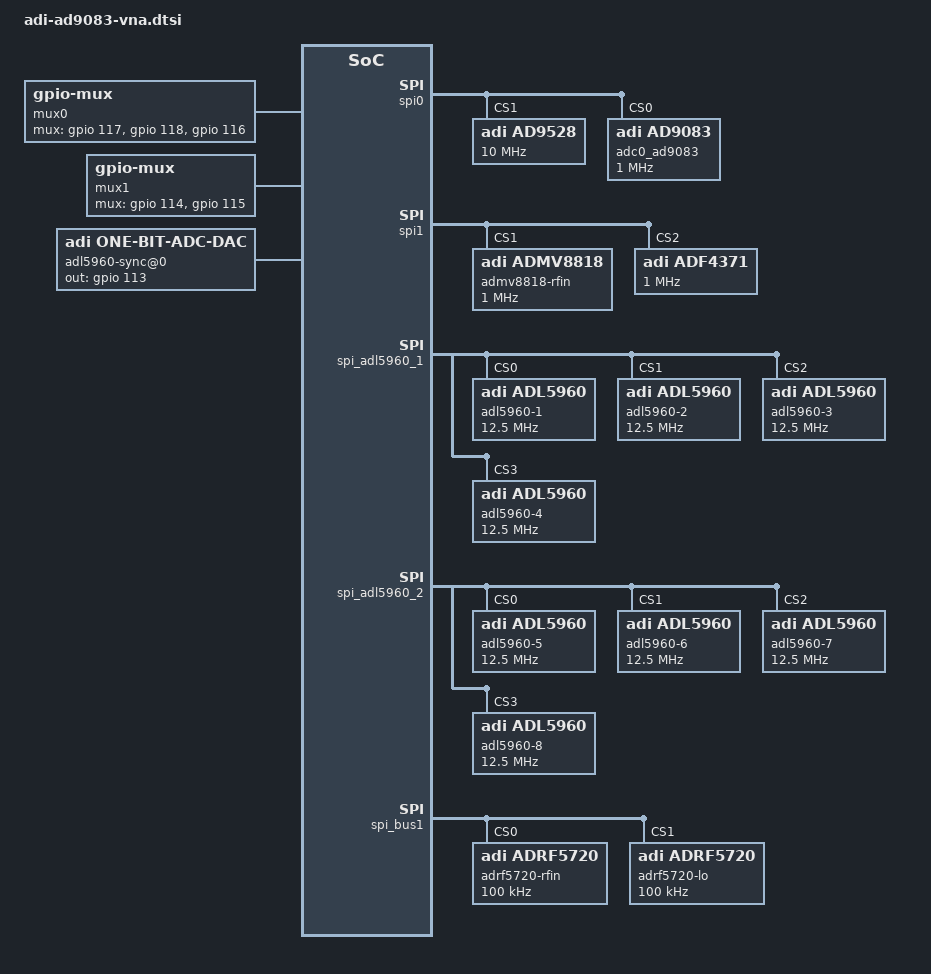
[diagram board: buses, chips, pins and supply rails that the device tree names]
// SPDX-License-Identifier: GPL-2.0
/*
 * dts file for AD9083-ADL5960 on Xilinx ZynqMP ZCU102 Rev 1.0
 *
 * board_revision: <Rev.B>
 *
 * Copyright (C) 2021 Analog Devices Inc.
 */
#include <dt-bindings/iio/frequency/ad9528.h>
#include <dt-bindings/iio/adc/adi,ad9083.h>

#define ADF9528_DIST_CLK	1000000000

#ifndef ADL5960_FOF
#define ADL5960_FOF		256
#endif

#ifndef AD9083_CIC_DEC
#define AD9083_CIC_DEC		AD9083_CIC_DEC_8
#endif

#define AD9083_NCO_FREQ		(ADF9528_DIST_CLK / ADL5960_FOF)

/ {
	fixed_clk: fixed-clock {
		#clock-cells = <0>;
		compatible = "fixed-clock";
		clock-frequency = <0>;
	};

	/* ADRF5021 GPIO_SW2, GPIO_SW[3,4]_V1, GPIO_SW[3,4]_V2 */
	mux0: mux-controller0 {
		compatible = "gpio-mux";
		#mux-control-cells = <0>;

		mux-gpios = <&gpio 117 0>, <&gpio 118 0>, <&gpio 116 0>;
	};

	/* ADRF5021 GPIO_SW0, GPIO_SW1 */
	mux1: mux-controller1 {
		compatible = "gpio-mux";
		#mux-control-cells = <0>;

		mux-gpios = <&gpio 114 0>, <&gpio 115 0>;
	};

	vna_mux0: mux-rfin {
		compatible = "adi,gen_mux";
		mux-controls = <&mux0>;
		mux-state-names =
			"d1", "d2", "d3", "d4", "d5", "d6", "d7", "d8";
		label = "mux-rfin";
	};

	clk_mux0: mux-adf4371 {
		compatible = "adi,gen_mux";
		clocks = <&adf4371 3>, <&adf4371 0>, <&adf4371 2>, <&fixed_clk>;
		#clock-cells = <0>;
		clock-names = "pll0-clk-rf32", "pll0-clk-rf8", "pll0-clk-rf16", "disabled";
		clock-output-names = "clk-mux-out";

		mux-controls = <&mux1>;
		mux-state-names = "rf32", "rf8", "rf16", "disabled";
		label = "mux-adf4371";
	};

	adl5960-sync@0 {
		compatible = "adi,one-bit-adc-dac";
		out-gpios = <&gpio 113 0>;

		#address-cells = <1>;
		#size-cells = <0>;

		channel@0 {
			reg = <0>;
			label = "ADL5960x_SYNC";
		};
	};
};

&spi0 {
	ad9528: ad9528@1 {
		compatible = "adi,ad9528";
		reg = <1>;
		spi-cpol;
		spi-cpha;
		#address-cells = <1>;
		#size-cells = <0>;

		jesd204-device;
		#jesd204-cells = <2>;
		jesd204-sysref-provider;

		spi-max-frequency = <10000000>;
		adi,spi-3wire-enable;

		clock-output-names =
			"ad9528-1_out0", "ad9528-1_out1", "ad9528-1_out2",
			"ad9528-1_out3", "ad9528-1_out4", "ad9528-1_out5",
			"ad9528-1_out6", "ad9528-1_out7", "ad9528-1_out8",
			"ad9528-1_out9", "ad9528-1_out10", "ad9528-1_out11",
			"ad9528-1_out12", "ad9528-1_out13";
		#clock-cells = <1>;

		adi,vcxo-freq = <100000000>;

		adi,refa-enable;
		adi,refa-diff-rcv-enable;
		adi,refa-r-div = <1>;
		adi,osc-in-cmos-neg-inp-enable;

		/* SYSREF config */
		adi,sysref-src = <SYSREF_SRC_INTERNAL>;
		adi,sysref-pattern-mode = <SYSREF_PATTERN_NSHOT>;
		adi,sysref-k-div = <256>;
		adi,sysref-nshot-mode = <SYSREF_NSHOT_4_PULSES>;
		adi,sysref-request-trigger-mode = <SYSREF_LEVEL_HIGH>;
		//adi,jesd204-max-sysref-frequency-hz = <400000>;

		/* PLL1 config */
		adi,pll1-feedback-src-vcxo;
		adi,pll1-feedback-div = <4>;
		adi,pll1-charge-pump-current-nA = <5000>;
		adi,osc-in-diff-enable;

		/* PLL2 config */
		/*
		 * Valid ranges based on VCO locking range:
		 *   1150.000 MHz - 1341.666 MHz
		 *    862.500 MHz - 1006.250 MHz
		 *    690.000 MHz -  805.000 MHz
		 */
		adi,pll2-m1-frequency = <ADF9528_DIST_CLK>;
		adi,pll2-charge-pump-current-nA = <805000>;

		adi,rpole2 = <RPOLE2_900_OHM>;
		adi,rzero = <RZERO_1850_OHM>;
		adi,cpole1 = <CPOLE1_16_PF>;

		adi,status-mon-pin0-function-select = <0xFF>; /* No function */
		adi,status-mon-pin1-function-select = <0xFF>; /* No function */

		ad9528_0_c1: channel@1 {
			reg = <1>;
			adi,extended-name = "FPGA_GLBL_CLK";
			adi,driver-mode = <DRIVER_MODE_LVDS>;
			adi,divider-phase = <0>;
			adi,channel-divider = <8>; /* 125 MHz */
			adi,signal-source = <SOURCE_VCO>;
		};

		ad9528_0_c2: channel@2 {
			reg = <2>;
			adi,extended-name = "ADRF5610_XREF";
			adi,driver-mode = <DRIVER_MODE_LVDS>;
			adi,divider-phase = <0>;
			adi,channel-divider = <20>; /* 125 MHz */
			adi,signal-source = <SOURCE_VCO>;
		};

		ad9528_0_c3: channel@3 {
			reg = <3>;
			adi,extended-name = "FPGA_REF_CLK";
			adi,driver-mode = <DRIVER_MODE_LVDS>;
			adi,divider-phase = <0>;
			adi,channel-divider = <2>; /* 500 MHz */
			adi,signal-source = <SOURCE_VCO>;
		};

		ad9528_0_c13: channel@13 {
			reg = <13>;
			adi,extended-name = "ADC_REF_CLK";
			adi,driver-mode = <DRIVER_MODE_LVDS>;
			adi,divider-phase = <0>;
			adi,channel-divider = <4>; /* 250 MHz */
			adi,signal-source = <SOURCE_VCO>;
		};

		ad9528_0_c12: channel@12 {
			reg = <12>;
			adi,extended-name = "DEV_SYSREF";
			adi,driver-mode = <DRIVER_MODE_LVDS>;
			adi,divider-phase = <0>;
			adi,channel-divider = <5>;
			adi,signal-source = <SOURCE_SYSREF_VCO>;
		};

		ad9528_0_c0: channel@0 {
			reg = <0>;
			adi,extended-name = "FMC_SYSREF";
			adi,driver-mode = <DRIVER_MODE_LVDS>;
			adi,divider-phase = <0>;
			adi,channel-divider = <5>;
			adi,signal-source = <SOURCE_SYSREF_VCO>;
		};

		ad9528_0_c4: channel@4 {
			reg = <4>;
			adi,extended-name = "ADL5960_FOF1";
			adi,driver-mode = <DRIVER_MODE_LVDS>;
			adi,divider-phase = <0>;
			adi,channel-divider = <ADL5960_FOF>;
			adi,signal-source = <SOURCE_VCO>;
		};
		ad9528_0_c5: channel@5 {
			reg = <5>;
			adi,extended-name = "ADL5960_FOF2";
			adi,driver-mode = <DRIVER_MODE_LVDS>;
			adi,divider-phase = <0>;
			adi,channel-divider = <ADL5960_FOF>;
			adi,signal-source = <SOURCE_VCO>;
		};
		ad9528_0_c6: channel@6 {
			reg = <6>;
			adi,extended-name = "ADL5960_FOF3";
			adi,driver-mode = <DRIVER_MODE_LVDS>;
			adi,divider-phase = <0>;
			adi,channel-divider = <ADL5960_FOF>;
			adi,signal-source = <SOURCE_VCO>;
		};
		ad9528_0_c7: channel@7 {
			reg = <7>;
			adi,extended-name = "ADL5960_FOF4";
			adi,driver-mode = <DRIVER_MODE_LVDS>;
			adi,divider-phase = <0>;
			adi,channel-divider = <ADL5960_FOF>;
			adi,signal-source = <SOURCE_VCO>;
		};
		ad9528_0_c8: channel@8 {
			reg = <8>;
			adi,extended-name = "ADL5960_FOF5";
			adi,driver-mode = <DRIVER_MODE_LVDS>;
			adi,divider-phase = <0>;
			adi,channel-divider = <ADL5960_FOF>;
			adi,signal-source = <SOURCE_VCO>;
		};
		ad9528_0_c9: channel@9 {
			reg = <9>;
			adi,extended-name = "ADL5960_FOF6";
			adi,driver-mode = <DRIVER_MODE_LVDS>;
			adi,divider-phase = <0>;
			adi,channel-divider = <ADL5960_FOF>;
			adi,signal-source = <SOURCE_VCO>;
		};
		ad9528_0_c10: channel@10 {
			reg = <10>;
			adi,extended-name = "ADL5960_FOF7";
			adi,driver-mode = <DRIVER_MODE_LVDS>;
			adi,divider-phase = <0>;
			adi,channel-divider = <ADL5960_FOF>;
			adi,signal-source = <SOURCE_VCO>;
		};
		ad9528_0_c11: channel@11 {
			reg = <11>;
			adi,extended-name = "ADL5960_FOF8";
			adi,driver-mode = <DRIVER_MODE_LVDS>;
			adi,divider-phase = <0>;
			adi,channel-divider = <ADL5960_FOF>;
			adi,signal-source = <SOURCE_VCO>;
		};
	};

	adc0_ad9083: ad9083@0 {
		compatible = "adi,ad9083";
		reg = <0>;

		jesd204-device;
		#jesd204-cells = <2>;
		jesd204-top-device = <0>;
		jesd204-link-ids = <0>;
		jesd204-inputs = <&axi_ad9083_core_rx 0 0>;

		spi-max-frequency = <1000000>;
		clocks = <&ad9528 13>;
		clock-names = "adc_ref_clk";
		adi,adc-frequency-hz= /bits/ 64 <2000000000>; /* 2 GHz */

		/* adi_ad9083 config */

		adi,vmax-microvolt = <1800>;
		adi,fc-hz =  /bits/ 64 <125000000>; /* 125 MHz */
		adi,rterm-ohms = <100>;
		adi,backoff = <0>;
		adi,finmax-hz = /bits/ 64 <100000000>;
		adi,nco0_freq-hz = /bits/ 64 <AD9083_NCO_FREQ>;
		adi,nco1_freq-hz = /bits/ 64 <0>;
		adi,nco2_freq-hz = /bits/ 64 <0>;
		adi,cic_decimation = /bits/ 8 <AD9083_CIC_DEC>;
		adi,j_decimation = /bits/ 8 <AD9083_J_DEC_16>;
		// adi,g_decimation = /bits/ 8 <AD9083_G_DEC_16>;
		// adi,h_decimation = /bits/ 8 <AD9083_H_DEC_16>;
		adi,g_decimation = /bits/ 8 <0>;
		adi,h_decimation = /bits/ 8 <0>;
		adi,nco0_datapath_mode =
			/bits/ 8 <AD9083_DATAPATH_ADC_CIC_NCO_J>;

		/* JESD204 parameters */

		adi,octets-per-frame = <64>;
		adi,frames-per-multiframe = <16>;
		adi,converter-resolution = <16>;
		adi,bits-per-sample = <16>;
		adi,converters-per-device = <32>;
		adi,control-bits-per-sample = <0>;
		adi,lanes-per-device = <1>;
		adi,subclass = <0>;
	};
};

&spi1 {
	status = "okay";

	admv8818-2@1{
		compatible = "adi,admv8818";
		reg = <1>;
		spi-max-frequency = <1000000>;
		clocks = <&clk_mux0>; /* Fixme */
		clock-names = "rf_in";
		clock-scales = <1 10>;
		label = "admv8818-rfin";
		adi,tolerance-percent = <3>;
	};

	adf4371: adf4371@2 {
		compatible = "adi,adf4371";
		reg = <2>;
		spi-max-frequency = <1000000>;
		#address-cells = <1>;
		#clock-cells = <1>;
		#size-cells = <0>;
		clocks = <&ad9528 2>;
		clock-names = "clkin";
		clock-scales = <1 10>;
		label = "adf4371";
		clock-output-names = "pll0-clk-rf8", "pll0-clk-rfaux8",
			"pll0-clk-rf16", "pll0-clk-rf32";
		channel@0 {
			reg = <0>;
			adi,power-up-frequency = /bits/ 64 <1000000000>;
			adi,output-enable;
		};
		channel@1 {
			reg = <1>;
			adi,power-up-frequency = /bits/ 64 <1000000000>;
			adi,output-enable;
		};
		channel@2 {
			reg = <2>;
			adi,power-up-frequency = /bits/ 64 <8000000000>;
			adi,output-enable;
		};
		channel@3 {
			reg = <3>;
			adi,power-up-frequency = /bits/ 64 <16000000000>;
			adi,output-enable;
		};
	};
};

&spi_adl5960_1 {
	adl5960-1@0 {
		compatible = "adi,adl5960";
		reg = <0>;
		spi-max-frequency = <12500000>;
		/* Clocks */
		clocks = <&adf4371 1>, <&ad9528 4>;
		clock-names = "lo_in", "offs_in";
		lo_in-clock-scales = <1 10>;
		label = "adl5960-1";
	};

	adl5960-2@1 {
		compatible = "adi,adl5960";
		reg = <1>;
		spi-max-frequency = <12500000>;
		/* Clocks */
		clocks = <&adf4371 1>, <&ad9528 5>;
		clock-names = "lo_in", "offs_in";
		lo_in-clock-scales = <1 10>;
		label = "adl5960-2";
	};

	adl5960-3@2 {
		compatible = "adi,adl5960";
		reg = <2>;
		spi-max-frequency = <12500000>;
		/* Clocks */
		clocks = <&adf4371 1>, <&ad9528 6>;
		clock-names = "lo_in", "offs_in";
		lo_in-clock-scales = <1 10>;
		label = "adl5960-3";
	};

	adl5960-4@3 {
		compatible = "adi,adl5960";
		reg = <3>;
		spi-max-frequency = <12500000>;
		/* Clocks */
		clocks = <&adf4371 1>, <&ad9528 7>;
		clock-names = "lo_in", "offs_in";
		lo_in-clock-scales = <1 10>;
		label = "adl5960-4";
	};
};

&spi_adl5960_2 {
	adl5960-5@0 {
		compatible = "adi,adl5960";
		reg = <0>;
		spi-max-frequency = <12500000>;
		/* Clocks */
		clocks = <&adf4371 1>, <&ad9528 8>;
		clock-names = "lo_in", "offs_in";
		lo_in-clock-scales = <1 10>;
		label = "adl5960-5";
	};

	adl5960-6@1 {
		compatible = "adi,adl5960";
		reg = <1>;
		spi-max-frequency = <12500000>;
		/* Clocks */
		clocks = <&adf4371 1>, <&ad9528 9>;
		clock-names = "lo_in", "offs_in";
		lo_in-clock-scales = <1 10>;
		label = "adl5960-6";
	};
	adl5960-7@2 {
		compatible = "adi,adl5960";
		reg = <2>;
		spi-max-frequency = <12500000>;
		/* Clocks */
		clocks = <&adf4371 1>, <&ad9528 10>;
		clock-names = "lo_in", "offs_in";
		lo_in-clock-scales = <1 10>;
		label = "adl5960-7";
	};

	adl5960-8@3 {
		compatible = "adi,adl5960";
		reg = <3>;
		spi-max-frequency = <12500000>;
		/* Clocks */
		clocks = <&adf4371 1>, <&ad9528 11>;
		clock-names = "lo_in", "offs_in";
		lo_in-clock-scales = <1 10>;
		label = "adl5960-8";
	};
};

&spi_bus1 {
	dat1: adrf5720-1@0 {
		compatible = "adi,adrf5720";
		reg = <0>;
		spi-max-frequency = <100000>;
		label = "adrf5720-rfin";
	};

	dat2: adrf5720-2@1 {
		compatible = "adi,adrf5720";
		reg = <1>;
		spi-max-frequency = <100000>;
		label = "adrf5720-lo";
	};
};
